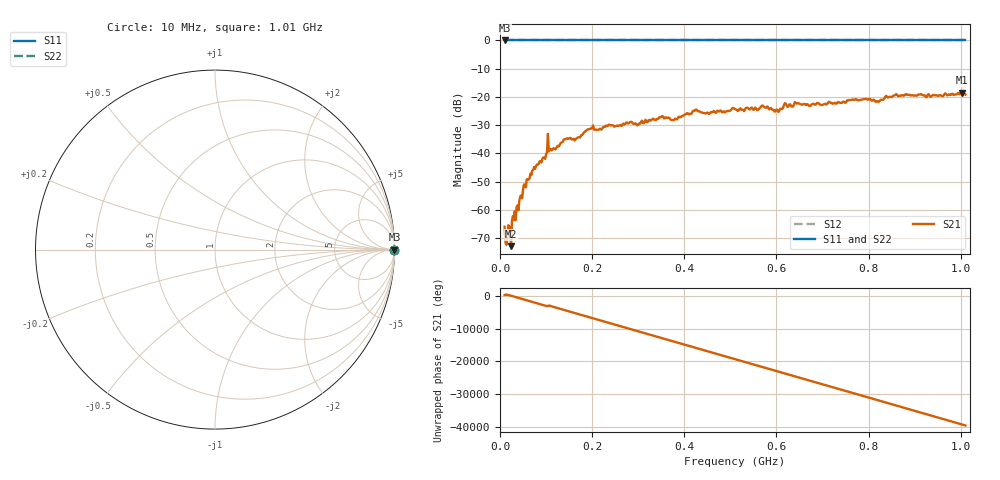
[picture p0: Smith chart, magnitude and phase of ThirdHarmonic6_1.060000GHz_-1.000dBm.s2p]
! 8/16/2025 9:29:15 AM
! C:\ANRITSUVNA\TEMP\TEMP.S2P
! CHANNEL.1
! TR.MEASUREMENT
! RAW.DATA
! RF.CORRECTION.OFF
! AVERAGING.OFF
! IF.BANDWIDTH: 5KHZ
! SWEEPTYPE:  FREQ.SWEEP(Linear)
! Reference Plane Port Info
! PORT:  PORT1  PORT2
! DISTANCE:  0  m  0  m
! TIME:  0  s  0  s
! PHASE.OFFSET:  0  deg.  0  deg.
! LOSS:  0  dB  0  dB
! REF.LOSS:  0  dB  0  dB
! REF.FREQ:  0  Hz  0  Hz
! Power Info
! POWER:  -20  dBm  -20  dBm
! EFF.POWER:  -20  dBm  -20  dBm
! SOURCE.ATTEN:  0  dB  0  dB
! TEST.ATTEN:  0  dB  0  dB
# GHZ S RI R 50.0
! FREQ.GHZ  S11RE  S11IM  S21RE  S21IM  S12RE  S12IM  S22RE  S22IM
!; PortSelection: Port_12
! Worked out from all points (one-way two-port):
!   501 points, 10 MHz to 1.01 GHz, reference 50 ohm
!   highest |S21| = -18.55 dB at 1.002 GHz (marker M1); lowest = -72.9 dB at 24 MHz (marker M2)
!   lowest |S11| = 0.0 dB at 10 MHz (marker M3)
!   |S11| at or under -10 dB: nowhere
!   |S22| runs from 0.0 to 0.0 dB; largest |S21 - S12| = 1.1
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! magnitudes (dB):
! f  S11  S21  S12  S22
! 10 MHz  0.0  -66.0  0.0  0.0
! 16 MHz  0.0  -70.0  0.0  0.0
! 24 MHz  0.0  -72.9  0.0  0.0
! 56 MHz  0.0  -52.1  0.0  0.0
! 94 MHz  0.0  -41.5  0.0  0.0
! 104 MHz  0.0  -33.1  0.0  0.0
! 178 MHz  0.0  -33.5  0.0  0.0
! 198 MHz  0.0  -31.2  0.0  0.0
! 300 MHz  0.0  -29.9  0.0  0.0
! 344 MHz  0.0  -27.6  0.0  0.0
! 374 MHz  0.0  -28.2  0.0  0.0
! 422 MHz  0.0  -25.0  0.0  0.0
! 450 MHz  0.0  -25.5  0.0  0.0
! 510 MHz  0.0  -24.3  0.0  0.0
! 570 MHz  0.0  -23.0  0.0  0.0
! 600 MHz  0.0  -24.4  0.0  0.0
! 620 MHz  0.0  -22.3  0.0  0.0
! 678 MHz  0.0  -22.5  0.0  0.0
! 818 MHz  0.0  -21.6  0.0  0.0
! 844 MHz  0.0  -20.0  0.0  0.0
! 1.002 GHz  0.0  -18.6  0.0  0.0
! 1.01 GHz  0.0  -19.2  0.0  0.0
